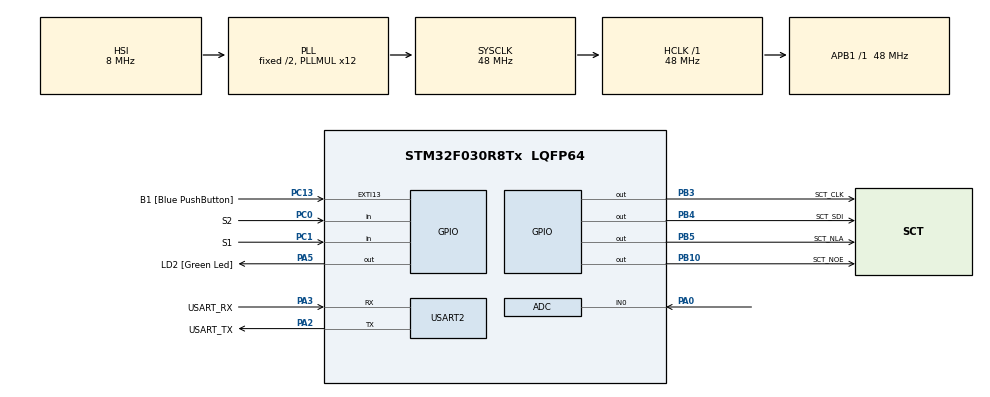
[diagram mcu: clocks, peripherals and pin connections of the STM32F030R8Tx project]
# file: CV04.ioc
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ADC.ContinuousConvMode=ENABLE
ADC.Overrun=ADC_OVR_DATA_OVERWRITTEN
ADC.SamplingTime=ADC_SAMPLETIME_239CYCLES_5
Mcu.Family=STM32F0
Mcu.Name=STM32F030R8Tx
Mcu.Package=LQFP64
NVIC.ADC1_IRQn=true\:0\:0\:false\:false\:true\:true\:true\:true
PA0.Mode=IN0
PA0.Signal=ADC_IN0
PA13.GPIO_Label=TMS
PA13.Mode=Serial_Wire
PA13.Signal=SYS_SWDIO
PA14.GPIO_Label=TCK
PA14.Mode=Serial_Wire
PA14.Signal=SYS_SWCLK
PA2.GPIO_Label=USART_TX
PA2.GPIO_Mode=GPIO_MODE_AF_PP
PA2.GPIO_PuPd=GPIO_NOPULL
PA2.GPIO_Speed=GPIO_SPEED_FREQ_LOW
PA2.Mode=Asynchronous
PA2.Signal=USART2_TX
PA3.GPIO_Label=USART_RX
PA3.GPIO_Mode=GPIO_MODE_AF_PP
PA3.GPIO_PuPd=GPIO_NOPULL
PA3.GPIO_Speed=GPIO_SPEED_FREQ_LOW
PA3.Mode=Asynchronous
PA3.Signal=USART2_RX
PA5.GPIO_Label=LD2 [Green Led]
PA5.GPIO_Mode=GPIO_MODE_OUTPUT_PP
PA5.GPIO_PuPd=GPIO_NOPULL
PA5.GPIO_Speed=GPIO_SPEED_FREQ_LOW
PA5.Signal=GPIO_Output
PB10.GPIO_Label=SCT_NOE
PB10.Signal=GPIO_Output
PB3.GPIO_Label=SCT_CLK
PB3.Signal=GPIO_Output
PB4.GPIO_Label=SCT_SDI
PB4.Signal=GPIO_Output
PB5.GPIO_Label=SCT_NLA
PB5.Signal=GPIO_Output
PC0.GPIO_Label=S2
PC0.GPIO_PuPd=GPIO_PULLUP
PC0.Signal=GPIO_Input
PC1.GPIO_Label=S1
PC1.GPIO_PuPd=GPIO_PULLUP
PC1.Signal=GPIO_Input
PC13.GPIO_Label=B1 [Blue PushButton]
PC13.GPIO_ModeDefaultEXTI=GPIO_MODE_IT_FALLING
PC13.Signal=GPXTI13
PC14-OSC32_IN.Mode=LSE-External-Oscillator
PC14-OSC32_IN.Signal=RCC_OSC32_IN
PC15-OSC32_OUT.Mode=LSE-External-Oscillator
PC15-OSC32_OUT.Signal=RCC_OSC32_OUT
PF0-OSC_IN.Mode=HSE-External-Clock-Source
PF0-OSC_IN.Signal=RCC_OSC_IN
PF1-OSC_OUT.Signal=RCC_OSC_OUT
ProjectManager.HeapSize=0x200
ProjectManager.StackSize=0x400
ProjectManager.TargetToolchain=STM32CubeIDE
RCC.AHBFreq_Value=48000000
RCC.APB1Freq_Value=48000000
RCC.APB1TimFreq_Value=48000000
RCC.HCLKFreq_Value=48000000
RCC.PLLMUL=RCC_PLL_MUL12
RCC.SYSCLKFreq_VALUE=48000000
RCC.SYSCLKSource=RCC_SYSCLKSOURCE_PLLCLK
USART2.VirtualMode-Asynchronous=VM_ASYNC
VP_ADC_TempSens_Input.Mode=IN-TempSens
VP_ADC_Vref_Input.Mode=IN-Vrefint
board=NUCLEO-F030R8

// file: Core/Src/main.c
/* USER CODE BEGIN Header */
/**
  ******************************************************************************
  * @file           : main.c
  * @brief          : Main program body
  ******************************************************************************
  * @attention
  *
  * Copyright (c) 2024 STMicroelectronics.
  * All rights reserved.
  *
  * This software is licensed under terms that can be found in the LICENSE file
  * in the root directory of this software component.
  * If no LICENSE file comes with this software, it is provided AS-IS.
  *
  ******************************************************************************
  */
/* USER CODE END Header */
#include "main.h"

/* USER CODE BEGIN Includes */
#include <sct.h>
/* USER CODE END Includes */

/* USER CODE BEGIN PD */
#define ADC_Q 12
#define TEMP110_CAL_ADDR ((uint16_t*) ((uint32_t) 0x1FFFF7C2))
#define TEMP30_CAL_ADDR ((uint16_t*) ((uint32_t) 0x1FFFF7B8))
#define VREFINT_CAL_ADDR ((uint16_t*) ((uint32_t) 0x1FFFF7BA))
/* USER CODE END PD */

ADC_HandleTypeDef hadc;

UART_HandleTypeDef huart2;

void SystemClock_Config(void);
static void MX_GPIO_Init(void);
static void MX_USART2_UART_Init(void);
static void MX_ADC_Init(void);

/* USER CODE BEGIN 0 */

static volatile uint32_t raw_pot;
static volatile uint32_t raw_temp;
static volatile uint32_t raw_volt;

void HAL_ADC_ConvCpltCallback(ADC_HandleTypeDef* hadc)
{

	static uint32_t avg_pot;
	static uint8_t channel;

	if(channel == 0) {
		raw_pot = avg_pot >> ADC_Q;
		avg_pot -= raw_pot;
		avg_pot += HAL_ADC_GetValue(hadc);
	}
	else if(channel == 1){
		raw_temp = HAL_ADC_GetValue(hadc);
	}
	else{
		raw_volt = HAL_ADC_GetValue(hadc);
	}

	if(__HAL_ADC_GET_FLAG(hadc, ADC_FLAG_EOS)) channel = 0;
	else channel++;

}
/* USER CODE END 0 */

int main(void)
{

  /* MCU Configuration--------------------------------------------------------*/

  /* Reset of all peripherals, Initializes the Flash interface and the Systick. */
  HAL_Init();

  /* USER CODE BEGIN Init */
  sct_init();
  /* USER CODE END Init */

  /* Configure the system clock */
  SystemClock_Config();

  /* Initialize all configured peripherals */
  MX_GPIO_Init();
  MX_USART2_UART_Init();
  MX_ADC_Init();
  /* USER CODE BEGIN 2 */
  HAL_ADCEx_Calibration_Start(&hadc);
  HAL_ADC_Start_IT(&hadc);

  /* USER CODE END 2 */

  /* Infinite loop */
  /* USER CODE BEGIN WHILE */
  uint32_t time;
  while (1)
  {

	  int32_t temperature = (raw_temp - (int32_t)(*TEMP30_CAL_ADDR));
	  temperature = temperature * (int32_t)(110 - 30);
	  temperature = temperature / (int32_t)(*TEMP110_CAL_ADDR - *TEMP30_CAL_ADDR);
	  temperature = temperature + 30;

	  uint32_t voltage = 330 * (*VREFINT_CAL_ADDR) / raw_volt;

	  static uint32_t btn;
	  static uint32_t time;

	  if(HAL_GPIO_ReadPin(S1_GPIO_Port,S1_Pin) == 0 && !btn){
		  btn = 1;
		  time = HAL_Get_Tick();
		  sct_value(temperature, (raw_pot * 9) / 4096);
	  }

	  else if(HAL_GPIO_ReadPin(S2_GPIO_Port,S2_Pin) == 0 && !btn){
		  btn = 1;
		  time = HAL_Get_Tick();
		  sct_value(voltage, (raw_pot * 9) / 4096);
	  }
	  else if(btn){
		  if(HAL_Get_Tick - time >= 1000){
			  btn = 0;
			  sct_value((raw_pot * 501) / 4096, raw_pot * 9 / 4096);
		  }
	  }
	  else {

	  }

		  }

		  (HAL_GPIO_ReadPin(S2_GPIO_Port, S2_Pin) == 1){
			  sct_value(voltage, (raw_pot * 9) / 4096);
			  HAL_Delay(1000);
		  }

    /* USER CODE END WHILE */

  }
}

void SystemClock_Config(void)
{
  RCC_OscInitTypeDef RCC_OscInitStruct = {0};
  RCC_ClkInitTypeDef RCC_ClkInitStruct = {0};

  /** Initializes the RCC Oscillators according to the specified parameters
  * in the RCC_OscInitTypeDef structure.
  */
  RCC_OscInitStruct.OscillatorType = RCC_OSCILLATORTYPE_HSI|RCC_OSCILLATORTYPE_HSI14;
  RCC_OscInitStruct.HSIState = RCC_HSI_ON;
  RCC_OscInitStruct.HSI14State = RCC_HSI14_ON;
  RCC_OscInitStruct.HSICalibrationValue = RCC_HSICALIBRATION_DEFAULT;
  RCC_OscInitStruct.HSI14CalibrationValue = 16;
  RCC_OscInitStruct.PLL.PLLState = RCC_PLL_ON;
  RCC_OscInitStruct.PLL.PLLSource = RCC_PLLSOURCE_HSI;
  RCC_OscInitStruct.PLL.PLLMUL = RCC_PLL_MUL12;
  RCC_OscInitStruct.PLL.PREDIV = RCC_PREDIV_DIV1;
  if (HAL_RCC_OscConfig(&RCC_OscInitStruct) != HAL_OK)
  {
    Error_Handler();
  }

  /** Initializes the CPU, AHB and APB buses clocks
  */
  RCC_ClkInitStruct.ClockType = RCC_CLOCKTYPE_HCLK|RCC_CLOCKTYPE_SYSCLK
                              |RCC_CLOCKTYPE_PCLK1;
  RCC_ClkInitStruct.SYSCLKSource = RCC_SYSCLKSOURCE_PLLCLK;
  RCC_ClkInitStruct.AHBCLKDivider = RCC_SYSCLK_DIV1;
  RCC_ClkInitStruct.APB1CLKDivider = RCC_HCLK_DIV1;

  if (HAL_RCC_ClockConfig(&RCC_ClkInitStruct, FLASH_LATENCY_1) != HAL_OK)
  {
    Error_Handler();
  }
}

static void MX_ADC_Init(void)
{

  ADC_ChannelConfTypeDef sConfig = {0};

  /** Configure the global features of the ADC (Clock, Resolution, Data Alignment and number of conversion)
  */
  hadc.Instance = ADC1;
  hadc.Init.ClockPrescaler = ADC_CLOCK_ASYNC_DIV1;
  hadc.Init.Resolution = ADC_RESOLUTION_12B;
  hadc.Init.DataAlign = ADC_DATAALIGN_RIGHT;
  hadc.Init.ScanConvMode = ADC_SCAN_DIRECTION_FORWARD;
  hadc.Init.EOCSelection = ADC_EOC_SINGLE_CONV;
  hadc.Init.LowPowerAutoWait = DISABLE;
  hadc.Init.LowPowerAutoPowerOff = DISABLE;
  hadc.Init.ContinuousConvMode = ENABLE;
  hadc.Init.DiscontinuousConvMode = DISABLE;
  hadc.Init.ExternalTrigConv = ADC_SOFTWARE_START;
  hadc.Init.ExternalTrigConvEdge = ADC_EXTERNALTRIGCONVEDGE_NONE;
  hadc.Init.DMAContinuousRequests = DISABLE;
  hadc.Init.Overrun = ADC_OVR_DATA_OVERWRITTEN;
  if (HAL_ADC_Init(&hadc) != HAL_OK)
  {
    Error_Handler();
  }

  /** Configure for the selected ADC regular channel to be converted.
  */
  sConfig.Channel = ADC_CHANNEL_0;
  sConfig.Rank = ADC_RANK_CHANNEL_NUMBER;
  sConfig.SamplingTime = ADC_SAMPLETIME_239CYCLES_5;
  if (HAL_ADC_ConfigChannel(&hadc, &sConfig) != HAL_OK)
  {
    Error_Handler();
  }

  /** Configure for the selected ADC regular channel to be converted.
  */
  sConfig.Channel = ADC_CHANNEL_TEMPSENSOR;
  if (HAL_ADC_ConfigChannel(&hadc, &sConfig) != HAL_OK)
  {
    Error_Handler();
  }

  /** Configure for the selected ADC regular channel to be converted.
  */
  sConfig.Channel = ADC_CHANNEL_VREFINT;
  if (HAL_ADC_ConfigChannel(&hadc, &sConfig) != HAL_OK)
  {
    Error_Handler();
  }

}

static void MX_USART2_UART_Init(void)
{

  huart2.Instance = USART2;
  huart2.Init.BaudRate = 38400;
  huart2.Init.WordLength = UART_WORDLENGTH_8B;
  huart2.Init.StopBits = UART_STOPBITS_1;
  huart2.Init.Parity = UART_PARITY_NONE;
  huart2.Init.Mode = UART_MODE_TX_RX;
  huart2.Init.HwFlowCtl = UART_HWCONTROL_NONE;
  huart2.Init.OverSampling = UART_OVERSAMPLING_16;
  huart2.Init.OneBitSampling = UART_ONE_BIT_SAMPLE_DISABLE;
  huart2.AdvancedInit.AdvFeatureInit = UART_ADVFEATURE_NO_INIT;
  if (HAL_UART_Init(&huart2) != HAL_OK)
  {
    Error_Handler();
  }

}

static void MX_GPIO_Init(void)
{
  GPIO_InitTypeDef GPIO_InitStruct = {0};

  /* GPIO Ports Clock Enable */
  __HAL_RCC_GPIOC_CLK_ENABLE();
  __HAL_RCC_GPIOF_CLK_ENABLE();
  __HAL_RCC_GPIOA_CLK_ENABLE();
  __HAL_RCC_GPIOB_CLK_ENABLE();

  /*Configure GPIO pin Output Level */
  HAL_GPIO_WritePin(LD2_GPIO_Port, LD2_Pin, GPIO_PIN_RESET);

  /*Configure GPIO pin Output Level */
  HAL_GPIO_WritePin(GPIOB, SCT_NOE_Pin|SCT_CLK_Pin|SCT_SDI_Pin|SCT_NLA_Pin, GPIO_PIN_RESET);

  /*Configure GPIO pin : B1_Pin */
  GPIO_InitStruct.Pin = B1_Pin;
  GPIO_InitStruct.Mode = GPIO_MODE_IT_FALLING;
  GPIO_InitStruct.Pull = GPIO_NOPULL;
  HAL_GPIO_Init(B1_GPIO_Port, &GPIO_InitStruct);

  /*Configure GPIO pins : S2_Pin S1_Pin */
  GPIO_InitStruct.Pin = S2_Pin|S1_Pin;
  GPIO_InitStruct.Mode = GPIO_MODE_INPUT;
  GPIO_InitStruct.Pull = GPIO_PULLUP;
  HAL_GPIO_Init(GPIOC, &GPIO_InitStruct);

  /*Configure GPIO pin : LD2_Pin */
  GPIO_InitStruct.Pin = LD2_Pin;
  GPIO_InitStruct.Mode = GPIO_MODE_OUTPUT_PP;
  GPIO_InitStruct.Pull = GPIO_NOPULL;
  GPIO_InitStruct.Speed = GPIO_SPEED_FREQ_LOW;
  HAL_GPIO_Init(LD2_GPIO_Port, &GPIO_InitStruct);

  /*Configure GPIO pins : SCT_NOE_Pin SCT_CLK_Pin SCT_SDI_Pin SCT_NLA_Pin */
  GPIO_InitStruct.Pin = SCT_NOE_Pin|SCT_CLK_Pin|SCT_SDI_Pin|SCT_NLA_Pin;
  GPIO_InitStruct.Mode = GPIO_MODE_OUTPUT_PP;
  GPIO_InitStruct.Pull = GPIO_NOPULL;
  GPIO_InitStruct.Speed = GPIO_SPEED_FREQ_LOW;
  HAL_GPIO_Init(GPIOB, &GPIO_InitStruct);

}

void Error_Handler(void)
{
  __disable_irq();
  while (1)
  {
  }
}
